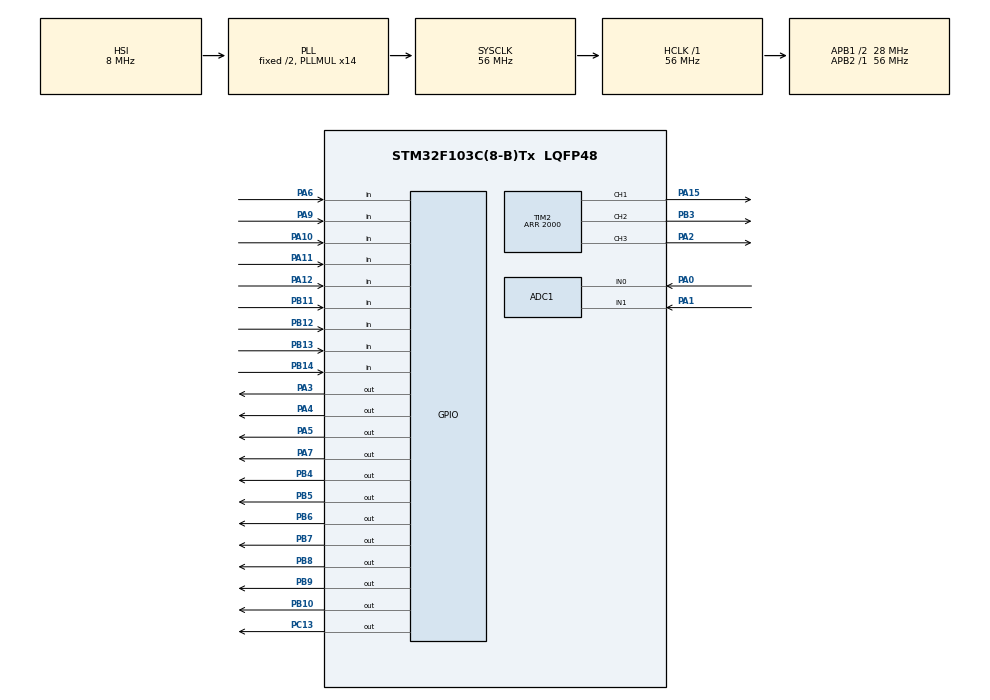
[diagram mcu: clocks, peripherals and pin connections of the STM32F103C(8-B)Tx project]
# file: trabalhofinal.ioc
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ADC1.Channel-0\#ChannelRegularConversion=ADC_CHANNEL_0
ADC1.Channel-1\#ChannelRegularConversion=ADC_CHANNEL_0
ADC1.Channel-10\#ChannelRegularConversion=ADC_CHANNEL_1
ADC1.Channel-11\#ChannelRegularConversion=ADC_CHANNEL_1
ADC1.Channel-12\#ChannelRegularConversion=ADC_CHANNEL_1
ADC1.Channel-13\#ChannelRegularConversion=ADC_CHANNEL_1
ADC1.Channel-14\#ChannelRegularConversion=ADC_CHANNEL_1
ADC1.Channel-15\#ChannelRegularConversion=ADC_CHANNEL_1
ADC1.Channel-2\#ChannelRegularConversion=ADC_CHANNEL_0
ADC1.Channel-3\#ChannelRegularConversion=ADC_CHANNEL_0
ADC1.Channel-4\#ChannelRegularConversion=ADC_CHANNEL_0
ADC1.Channel-5\#ChannelRegularConversion=ADC_CHANNEL_0
ADC1.Channel-6\#ChannelRegularConversion=ADC_CHANNEL_0
ADC1.Channel-7\#ChannelRegularConversion=ADC_CHANNEL_0
ADC1.Channel-8\#ChannelRegularConversion=ADC_CHANNEL_1
ADC1.Channel-9\#ChannelRegularConversion=ADC_CHANNEL_1
ADC1.NbrOfConversion=16
ADC1.NbrOfConversionFlag=1
ADC1.Rank-0\#ChannelRegularConversion=1
ADC1.Rank-1\#ChannelRegularConversion=2
ADC1.Rank-10\#ChannelRegularConversion=11
ADC1.Rank-11\#ChannelRegularConversion=12
ADC1.Rank-12\#ChannelRegularConversion=13
ADC1.Rank-13\#ChannelRegularConversion=14
ADC1.Rank-14\#ChannelRegularConversion=15
ADC1.Rank-15\#ChannelRegularConversion=16
ADC1.Rank-2\#ChannelRegularConversion=3
ADC1.Rank-3\#ChannelRegularConversion=4
ADC1.Rank-4\#ChannelRegularConversion=5
ADC1.Rank-5\#ChannelRegularConversion=6
ADC1.Rank-6\#ChannelRegularConversion=7
ADC1.Rank-7\#ChannelRegularConversion=8
ADC1.Rank-8\#ChannelRegularConversion=9
ADC1.Rank-9\#ChannelRegularConversion=10
ADC1.SamplingTime-0\#ChannelRegularConversion=ADC_SAMPLETIME_1CYCLE_5
ADC1.SamplingTime-1\#ChannelRegularConversion=ADC_SAMPLETIME_1CYCLE_5
ADC1.SamplingTime-10\#ChannelRegularConversion=ADC_SAMPLETIME_1CYCLE_5
ADC1.SamplingTime-11\#ChannelRegularConversion=ADC_SAMPLETIME_1CYCLE_5
ADC1.SamplingTime-12\#ChannelRegularConversion=ADC_SAMPLETIME_1CYCLE_5
ADC1.SamplingTime-13\#ChannelRegularConversion=ADC_SAMPLETIME_1CYCLE_5
ADC1.SamplingTime-14\#ChannelRegularConversion=ADC_SAMPLETIME_1CYCLE_5
ADC1.SamplingTime-15\#ChannelRegularConversion=ADC_SAMPLETIME_1CYCLE_5
ADC1.SamplingTime-2\#ChannelRegularConversion=ADC_SAMPLETIME_1CYCLE_5
ADC1.SamplingTime-3\#ChannelRegularConversion=ADC_SAMPLETIME_1CYCLE_5
ADC1.SamplingTime-4\#ChannelRegularConversion=ADC_SAMPLETIME_1CYCLE_5
ADC1.SamplingTime-5\#ChannelRegularConversion=ADC_SAMPLETIME_1CYCLE_5
ADC1.SamplingTime-6\#ChannelRegularConversion=ADC_SAMPLETIME_1CYCLE_5
ADC1.SamplingTime-7\#ChannelRegularConversion=ADC_SAMPLETIME_1CYCLE_5
ADC1.SamplingTime-8\#ChannelRegularConversion=ADC_SAMPLETIME_1CYCLE_5
ADC1.SamplingTime-9\#ChannelRegularConversion=ADC_SAMPLETIME_1CYCLE_5
ADC1.master=1
Dma.ADC1.0.Direction=DMA_PERIPH_TO_MEMORY
Dma.ADC1.0.Instance=DMA1_Channel1
Dma.ADC1.0.MemDataAlignment=DMA_MDATAALIGN_WORD
Dma.ADC1.0.MemInc=DMA_MINC_ENABLE
Dma.ADC1.0.Mode=DMA_CIRCULAR
Dma.ADC1.0.PeriphDataAlignment=DMA_PDATAALIGN_WORD
Dma.ADC1.0.PeriphInc=DMA_PINC_DISABLE
Dma.ADC1.0.Priority=DMA_PRIORITY_LOW
Dma.Request0=ADC1
Mcu.Family=STM32F1
Mcu.Name=STM32F103C(8-B)Tx
Mcu.Package=LQFP48
NVIC.DMA1_Channel1_IRQn=true\:0\:0\:false\:false\:true\:false\:true
NVIC.PriorityGroup=NVIC_PRIORITYGROUP_4
NVIC.TIM3_IRQn=true\:0\:0\:false\:false\:true\:true\:true
NVIC.TIM4_IRQn=true\:0\:0\:false\:false\:true\:true\:true
PA0-WKUP.Signal=ADCx_IN0
PA1.Signal=ADCx_IN1
PA10.Signal=GPIO_Input
PA11.Signal=GPIO_Input
PA12.Signal=GPIO_Input
PA13.Mode=Serial_Wire
PA13.Signal=SYS_JTMS-SWDIO
PA14.Mode=Serial_Wire
PA14.Signal=SYS_JTCK-SWCLK
PA15.Signal=S_TIM2_CH1_ETR
PA2.Signal=S_TIM2_CH3
PA3.Signal=GPIO_Output
PA4.Signal=GPIO_Output
PA5.Signal=GPIO_Output
PA6.Signal=GPIO_Input
PA7.Signal=GPIO_Output
PA9.Signal=GPIO_Input
PB10.Signal=GPIO_Output
PB11.Signal=GPIO_Input
PB12.Signal=GPIO_Input
PB13.Signal=GPIO_Input
PB14.Signal=GPIO_Input
PB3.Signal=S_TIM2_CH2
PB4.Signal=GPIO_Output
PB5.Signal=GPIO_Output
PB6.Signal=GPIO_Output
PB7.Signal=GPIO_Output
PB8.Signal=GPIO_Output
PB9.Signal=GPIO_Output
PC13-TAMPER-RTC.Signal=GPIO_Output
PD0-OSC_IN.Mode=HSE-External-Oscillator
PD0-OSC_IN.Signal=RCC_OSC_IN
PD1-OSC_OUT.Mode=HSE-External-Oscillator
PD1-OSC_OUT.Signal=RCC_OSC_OUT
ProjectManager.HeapSize=0x200
ProjectManager.StackSize=0x400
ProjectManager.TargetToolchain=STM32CubeIDE
RCC.ADCPresc=RCC_ADCPCLK2_DIV4
RCC.AHBFreq_Value=56000000
RCC.APB1CLKDivider=RCC_HCLK_DIV2
RCC.APB1Freq_Value=28000000
RCC.APB1TimFreq_Value=56000000
RCC.APB2Freq_Value=56000000
RCC.APB2TimFreq_Value=56000000
RCC.HCLKFreq_Value=56000000
RCC.PLLMUL=RCC_PLL_MUL14
RCC.SYSCLKFreq_VALUE=56000000
RCC.SYSCLKSource=RCC_SYSCLKSOURCE_PLLCLK
RCC.USBFreq_Value=56000000
SH.ADCx_IN0.0=ADC1_IN0,IN0
SH.ADCx_IN1.0=ADC1_IN1,IN1
SH.S_TIM2_CH1_ETR.0=TIM2_CH1,PWM Generation1 CH1
SH.S_TIM2_CH2.0=TIM2_CH2,PWM Generation2 CH2
SH.S_TIM2_CH3.0=TIM2_CH3,PWM Generation3 CH3
TIM2.Channel-PWM\ Generation1\ CH1=TIM_CHANNEL_1
TIM2.Channel-PWM\ Generation2\ CH2=TIM_CHANNEL_2
TIM2.Channel-PWM\ Generation3\ CH3=TIM_CHANNEL_3
TIM2.OC1Preload_PWM=ENABLE
TIM2.Period=2000
TIM3.Period=10000
TIM3.Prescaler=5600-1
TIM4.Period=3000
TIM4.Prescaler=5600
VP_TIM3_VS_ClockSourceINT.Mode=Internal
VP_TIM4_VS_ClockSourceINT.Mode=Internal
board=custom

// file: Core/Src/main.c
/* USER CODE BEGIN Header */
/**
  ******************************************************************************
  * @file           : main.c
  * @brief          : Main program body
  ******************************************************************************
  * @attention
  *
  * <h2><center>&copy; Copyright (c) 2020 STMicroelectronics.
  * All rights reserved.</center></h2>
  *
  * This software component is licensed by ST under BSD 3-Clause license,
  * the "License"; You may not use this file except in compliance with the
  * License. You may obtain a copy of the License at:
  *                        opensource.org/licenses/BSD-3-Clause
  *
  ******************************************************************************
  */
/* USER CODE END Header */
#include <aguaSemGas.h>
#include "main.h"

/* USER CODE BEGIN Includes */
#include "funcoes.h"
#include "bebidasGaseificadas.h"
#include <stdio.h>
#include <time.h>
//#include "telas.h"
/* USER CODE END Includes */

ADC_HandleTypeDef hadc1;
DMA_HandleTypeDef hdma_adc1;

TIM_HandleTypeDef htim2;
TIM_HandleTypeDef htim3;
TIM_HandleTypeDef htim4;

/* USER CODE BEGIN PV */
/* Private variables ---------------------------------------------------------*/
TIM_HandleTypeDef htim2;

/* USER CODE END PV */

void SystemClock_Config(void);
static void MX_GPIO_Init(void);
static void MX_DMA_Init(void);
static void MX_ADC1_Init(void);
static void MX_TIM2_Init(void);
static void MX_TIM3_Init(void);
static void MX_TIM4_Init(void);

int main(void)
{
  /* USER CODE BEGIN 1 */
	char aux[2];
  /* USER CODE END 1 */

  /* MCU Configuration--------------------------------------------------------*/

  /* Reset of all peripherals, Initializes the Flash interface and the Systick. */
  HAL_Init();

  /* Configure the system clock */
  SystemClock_Config();

  /* Initialize all configured peripherals */
  MX_GPIO_Init();
  MX_DMA_Init();
  MX_ADC1_Init();
  MX_TIM2_Init();
  MX_TIM3_Init();
  MX_TIM4_Init();
  HAL_TIM_Base_Start_IT(&htim3);
  HAL_TIM_Base_Start_IT(&htim4);
  horas=minutos=segundos=0;
	strcpy(aux, __TIME__);
	horas= atoi(aux);
	strcpy(aux, __TIME__ +3);
	minutos = atoi(aux);
	strcpy(aux, __TIME__+6);
	segundos = atoi(aux);
  iniciar();// Inicializa as variaveis das capsulas
  /* USER CODE BEGIN 2 */
  HAL_TIM_PWM_Start(&htim2, TIM_CHANNEL_1);
  HAL_TIM_PWM_Start(&htim2, TIM_CHANNEL_2);
  HAL_TIM_PWM_Start(&htim2, TIM_CHANNEL_3);
  calibrar();
  inicializa(); // Inicializa o display
  limpar(); // limpa o display
  /* USER CODE END 2 */

  /* Infinite loop */
  while (1)
  {

    /* USER CODE BEGIN 3 */
	 relogio(); // chama o relogio

  }
  /* USER CODE END 3 */
}

void SystemClock_Config(void)
{
  RCC_OscInitTypeDef RCC_OscInitStruct = {0};
  RCC_ClkInitTypeDef RCC_ClkInitStruct = {0};
  RCC_PeriphCLKInitTypeDef PeriphClkInit = {0};

  /** Initializes the RCC Oscillators according to the specified parameters
  * in the RCC_OscInitTypeDef structure.
  */
  RCC_OscInitStruct.OscillatorType = RCC_OSCILLATORTYPE_HSI;
  RCC_OscInitStruct.HSIState = RCC_HSI_ON;
  RCC_OscInitStruct.HSICalibrationValue = RCC_HSICALIBRATION_DEFAULT;
  RCC_OscInitStruct.PLL.PLLState = RCC_PLL_ON;
  RCC_OscInitStruct.PLL.PLLSource = RCC_PLLSOURCE_HSI_DIV2;
  RCC_OscInitStruct.PLL.PLLMUL = RCC_PLL_MUL14;
  if (HAL_RCC_OscConfig(&RCC_OscInitStruct) != HAL_OK)
  {
    Error_Handler();
  }
  /** Initializes the CPU, AHB and APB buses clocks
  */
  RCC_ClkInitStruct.ClockType = RCC_CLOCKTYPE_HCLK|RCC_CLOCKTYPE_SYSCLK
                              |RCC_CLOCKTYPE_PCLK1|RCC_CLOCKTYPE_PCLK2;
  RCC_ClkInitStruct.SYSCLKSource = RCC_SYSCLKSOURCE_PLLCLK;
  RCC_ClkInitStruct.AHBCLKDivider = RCC_SYSCLK_DIV1;
  RCC_ClkInitStruct.APB1CLKDivider = RCC_HCLK_DIV2;
  RCC_ClkInitStruct.APB2CLKDivider = RCC_HCLK_DIV1;

  if (HAL_RCC_ClockConfig(&RCC_ClkInitStruct, FLASH_LATENCY_2) != HAL_OK)
  {
    Error_Handler();
  }
  PeriphClkInit.PeriphClockSelection = RCC_PERIPHCLK_ADC;
  PeriphClkInit.AdcClockSelection = RCC_ADCPCLK2_DIV4;
  if (HAL_RCCEx_PeriphCLKConfig(&PeriphClkInit) != HAL_OK)
  {
    Error_Handler();
  }
}

static void MX_ADC1_Init(void)
{

  ADC_ChannelConfTypeDef sConfig = {0};

  /** Common config
  */
  hadc1.Instance = ADC1;
  hadc1.Init.ScanConvMode = ADC_SCAN_ENABLE;
  hadc1.Init.ContinuousConvMode = DISABLE;
  hadc1.Init.DiscontinuousConvMode = DISABLE;
  hadc1.Init.ExternalTrigConv = ADC_SOFTWARE_START;
  hadc1.Init.DataAlign = ADC_DATAALIGN_RIGHT;
  hadc1.Init.NbrOfConversion = 16;
  if (HAL_ADC_Init(&hadc1) != HAL_OK)
  {
    Error_Handler();
  }
  /** Configure Regular Channel
  */
  sConfig.Channel = ADC_CHANNEL_0;
  sConfig.Rank = ADC_REGULAR_RANK_1;
  sConfig.SamplingTime = ADC_SAMPLETIME_1CYCLE_5;
  if (HAL_ADC_ConfigChannel(&hadc1, &sConfig) != HAL_OK)
  {
    Error_Handler();
  }
  /** Configure Regular Channel
  */
  sConfig.Rank = ADC_REGULAR_RANK_2;
  if (HAL_ADC_ConfigChannel(&hadc1, &sConfig) != HAL_OK)
  {
    Error_Handler();
  }
  /** Configure Regular Channel
  */
  sConfig.Rank = ADC_REGULAR_RANK_3;
  if (HAL_ADC_ConfigChannel(&hadc1, &sConfig) != HAL_OK)
  {
    Error_Handler();
  }
  /** Configure Regular Channel
  */
  sConfig.Rank = ADC_REGULAR_RANK_4;
  if (HAL_ADC_ConfigChannel(&hadc1, &sConfig) != HAL_OK)
  {
    Error_Handler();
  }
  /** Configure Regular Channel
  */
  sConfig.Rank = ADC_REGULAR_RANK_5;
  if (HAL_ADC_ConfigChannel(&hadc1, &sConfig) != HAL_OK)
  {
    Error_Handler();
  }
  /** Configure Regular Channel
  */
  sConfig.Rank = ADC_REGULAR_RANK_6;
  if (HAL_ADC_ConfigChannel(&hadc1, &sConfig) != HAL_OK)
  {
    Error_Handler();
  }
  /** Configure Regular Channel
  */
  sConfig.Rank = ADC_REGULAR_RANK_7;
  if (HAL_ADC_ConfigChannel(&hadc1, &sConfig) != HAL_OK)
  {
    Error_Handler();
  }
  /** Configure Regular Channel
  */
  sConfig.Rank = ADC_REGULAR_RANK_8;
  if (HAL_ADC_ConfigChannel(&hadc1, &sConfig) != HAL_OK)
  {
    Error_Handler();
  }
  /** Configure Regular Channel
  */
  sConfig.Channel = ADC_CHANNEL_1;
  sConfig.Rank = ADC_REGULAR_RANK_9;
  if (HAL_ADC_ConfigChannel(&hadc1, &sConfig) != HAL_OK)
  {
    Error_Handler();
  }
  /** Configure Regular Channel
  */
  sConfig.Rank = ADC_REGULAR_RANK_10;
  if (HAL_ADC_ConfigChannel(&hadc1, &sConfig) != HAL_OK)
  {
    Error_Handler();
  }
  /** Configure Regular Channel
  */
  sConfig.Rank = ADC_REGULAR_RANK_11;
  if (HAL_ADC_ConfigChannel(&hadc1, &sConfig) != HAL_OK)
  {
    Error_Handler();
  }
  /** Configure Regular Channel
  */
  sConfig.Rank = ADC_REGULAR_RANK_12;
  if (HAL_ADC_ConfigChannel(&hadc1, &sConfig) != HAL_OK)
  {
    Error_Handler();
  }
  /** Configure Regular Channel
  */
  sConfig.Rank = ADC_REGULAR_RANK_13;
  if (HAL_ADC_ConfigChannel(&hadc1, &sConfig) != HAL_OK)
  {
    Error_Handler();
  }
  /** Configure Regular Channel
  */
  sConfig.Rank = ADC_REGULAR_RANK_14;
  if (HAL_ADC_ConfigChannel(&hadc1, &sConfig) != HAL_OK)
  {
    Error_Handler();
  }
  /** Configure Regular Channel
  */
  sConfig.Rank = ADC_REGULAR_RANK_15;
  if (HAL_ADC_ConfigChannel(&hadc1, &sConfig) != HAL_OK)
  {
    Error_Handler();
  }
  /** Configure Regular Channel
  */
  sConfig.Rank = ADC_REGULAR_RANK_16;
  if (HAL_ADC_ConfigChannel(&hadc1, &sConfig) != HAL_OK)
  {
    Error_Handler();
  }

}

static void MX_TIM2_Init(void)
{

  TIM_MasterConfigTypeDef sMasterConfig = {0};
  TIM_OC_InitTypeDef sConfigOC = {0};

  htim2.Instance = TIM2;
  htim2.Init.Prescaler = 0;
  htim2.Init.CounterMode = TIM_COUNTERMODE_UP;
  htim2.Init.Period = 2000;
  htim2.Init.ClockDivision = TIM_CLOCKDIVISION_DIV1;
  htim2.Init.AutoReloadPreload = TIM_AUTORELOAD_PRELOAD_DISABLE;
  if (HAL_TIM_PWM_Init(&htim2) != HAL_OK)
  {
    Error_Handler();
  }
  sMasterConfig.MasterOutputTrigger = TIM_TRGO_RESET;
  sMasterConfig.MasterSlaveMode = TIM_MASTERSLAVEMODE_DISABLE;
  if (HAL_TIMEx_MasterConfigSynchronization(&htim2, &sMasterConfig) != HAL_OK)
  {
    Error_Handler();
  }
  sConfigOC.OCMode = TIM_OCMODE_PWM1;
  sConfigOC.Pulse = 0;
  sConfigOC.OCPolarity = TIM_OCPOLARITY_HIGH;
  sConfigOC.OCFastMode = TIM_OCFAST_DISABLE;
  if (HAL_TIM_PWM_ConfigChannel(&htim2, &sConfigOC, TIM_CHANNEL_1) != HAL_OK)
  {
    Error_Handler();
  }
  if (HAL_TIM_PWM_ConfigChannel(&htim2, &sConfigOC, TIM_CHANNEL_2) != HAL_OK)
  {
    Error_Handler();
  }
  if (HAL_TIM_PWM_ConfigChannel(&htim2, &sConfigOC, TIM_CHANNEL_3) != HAL_OK)
  {
    Error_Handler();
  }
  HAL_TIM_MspPostInit(&htim2);

}

static void MX_TIM3_Init(void)
{

  TIM_ClockConfigTypeDef sClockSourceConfig = {0};
  TIM_MasterConfigTypeDef sMasterConfig = {0};

  htim3.Instance = TIM3;
  htim3.Init.Prescaler = 5600-1;
  htim3.Init.CounterMode = TIM_COUNTERMODE_UP;
  htim3.Init.Period = 10000;
  htim3.Init.ClockDivision = TIM_CLOCKDIVISION_DIV1;
  htim3.Init.AutoReloadPreload = TIM_AUTORELOAD_PRELOAD_DISABLE;
  if (HAL_TIM_Base_Init(&htim3) != HAL_OK)
  {
    Error_Handler();
  }
  sClockSourceConfig.ClockSource = TIM_CLOCKSOURCE_INTERNAL;
  if (HAL_TIM_ConfigClockSource(&htim3, &sClockSourceConfig) != HAL_OK)
  {
    Error_Handler();
  }
  sMasterConfig.MasterOutputTrigger = TIM_TRGO_RESET;
  sMasterConfig.MasterSlaveMode = TIM_MASTERSLAVEMODE_DISABLE;
  if (HAL_TIMEx_MasterConfigSynchronization(&htim3, &sMasterConfig) != HAL_OK)
  {
    Error_Handler();
  }

}

static void MX_TIM4_Init(void)
{

  TIM_ClockConfigTypeDef sClockSourceConfig = {0};
  TIM_MasterConfigTypeDef sMasterConfig = {0};

  htim4.Instance = TIM4;
  htim4.Init.Prescaler = 5600;
  htim4.Init.CounterMode = TIM_COUNTERMODE_UP;
  htim4.Init.Period = 3000;
  htim4.Init.ClockDivision = TIM_CLOCKDIVISION_DIV1;
  htim4.Init.AutoReloadPreload = TIM_AUTORELOAD_PRELOAD_DISABLE;
  if (HAL_TIM_Base_Init(&htim4) != HAL_OK)
  {
    Error_Handler();
  }
  sClockSourceConfig.ClockSource = TIM_CLOCKSOURCE_INTERNAL;
  if (HAL_TIM_ConfigClockSource(&htim4, &sClockSourceConfig) != HAL_OK)
  {
    Error_Handler();
  }
  sMasterConfig.MasterOutputTrigger = TIM_TRGO_RESET;
  sMasterConfig.MasterSlaveMode = TIM_MASTERSLAVEMODE_DISABLE;
  if (HAL_TIMEx_MasterConfigSynchronization(&htim4, &sMasterConfig) != HAL_OK)
  {
    Error_Handler();
  }

}

static void MX_DMA_Init(void)
{

  /* DMA controller clock enable */
  __HAL_RCC_DMA1_CLK_ENABLE();

  /* DMA interrupt init */
  /* DMA1_Channel1_IRQn interrupt configuration */
  HAL_NVIC_SetPriority(DMA1_Channel1_IRQn, 0, 0);
  HAL_NVIC_EnableIRQ(DMA1_Channel1_IRQn);

}

static void MX_GPIO_Init(void)
{
  GPIO_InitTypeDef GPIO_InitStruct = {0};

  /* GPIO Ports Clock Enable */
  __HAL_RCC_GPIOC_CLK_ENABLE();
  __HAL_RCC_GPIOD_CLK_ENABLE();
  __HAL_RCC_GPIOA_CLK_ENABLE();
  __HAL_RCC_GPIOB_CLK_ENABLE();

  /*Configure GPIO pin Output Level */
  HAL_GPIO_WritePin(GPIOC, GPIO_PIN_13, GPIO_PIN_RESET);

  /*Configure GPIO pin Output Level */
  HAL_GPIO_WritePin(GPIOA, GPIO_PIN_3|GPIO_PIN_4|GPIO_PIN_5|GPIO_PIN_7, GPIO_PIN_RESET);

  /*Configure GPIO pin Output Level */
  HAL_GPIO_WritePin(GPIOB, GPIO_PIN_10|GPIO_PIN_4|GPIO_PIN_5|GPIO_PIN_6
                          |GPIO_PIN_7|GPIO_PIN_8|GPIO_PIN_9, GPIO_PIN_RESET);

  /*Configure GPIO pin : PC13 */
  GPIO_InitStruct.Pin = GPIO_PIN_13;
  GPIO_InitStruct.Mode = GPIO_MODE_OUTPUT_PP;
  GPIO_InitStruct.Pull = GPIO_NOPULL;
  GPIO_InitStruct.Speed = GPIO_SPEED_FREQ_LOW;
  HAL_GPIO_Init(GPIOC, &GPIO_InitStruct);

  /*Configure GPIO pins : PA3 PA4 PA5 PA7 */
  GPIO_InitStruct.Pin = GPIO_PIN_3|GPIO_PIN_4|GPIO_PIN_5|GPIO_PIN_7;
  GPIO_InitStruct.Mode = GPIO_MODE_OUTPUT_PP;
  GPIO_InitStruct.Pull = GPIO_NOPULL;
  GPIO_InitStruct.Speed = GPIO_SPEED_FREQ_LOW;
  HAL_GPIO_Init(GPIOA, &GPIO_InitStruct);

  /*Configure GPIO pins : PA6 PA9 PA10 PA11
                           PA12 */
  GPIO_InitStruct.Pin = GPIO_PIN_6|GPIO_PIN_9|GPIO_PIN_10|GPIO_PIN_11
                          |GPIO_PIN_12;
  GPIO_InitStruct.Mode = GPIO_MODE_INPUT;
  GPIO_InitStruct.Pull = GPIO_NOPULL;
  HAL_GPIO_Init(GPIOA, &GPIO_InitStruct);

  /*Configure GPIO pins : PB10 PB4 PB5 PB6
                           PB7 PB8 PB9 */
  GPIO_InitStruct.Pin = GPIO_PIN_10|GPIO_PIN_4|GPIO_PIN_5|GPIO_PIN_6
                          |GPIO_PIN_7|GPIO_PIN_8|GPIO_PIN_9;
  GPIO_InitStruct.Mode = GPIO_MODE_OUTPUT_PP;
  GPIO_InitStruct.Pull = GPIO_NOPULL;
  GPIO_InitStruct.Speed = GPIO_SPEED_FREQ_LOW;
  HAL_GPIO_Init(GPIOB, &GPIO_InitStruct);

  /*Configure GPIO pins : PB11 PB12 PB13 PB14 */
  GPIO_InitStruct.Pin = GPIO_PIN_11|GPIO_PIN_12|GPIO_PIN_13|GPIO_PIN_14;
  GPIO_InitStruct.Mode = GPIO_MODE_INPUT;
  GPIO_InitStruct.Pull = GPIO_NOPULL;
  HAL_GPIO_Init(GPIOB, &GPIO_InitStruct);

}

/* USER CODE BEGIN 4 */
void HAL_TIM_PeriodElapsedCallback(TIM_HandleTypeDef *htim){

	/**Testa qual timer gerou a interupção se for o timer 3, adiciona 1s ao timer do relogio
	 * Se timer 4 pisca o led da placa, C13**/
	if(htim == &htim3){
		segundos++;
		if(segundos == 60){
			minutos++;
			segundos=0;
		}
		if(minutos==60){
			horas++;
			minutos=0;
		}
		if(horas==24){
			horas=00;
		}
	}
	if(htim == &htim4){
		HAL_GPIO_TogglePin(GPIOC, GPIO_PIN_13);
	}
}

//Libera a flag para leitura do DMA
void HAL_ADC_ConvCpltCallback(ADC_HandleTypeDef* hadc){
	flag=1;
}
/* USER CODE END 4 */

void Error_Handler(void)
{
}

/************************ (C) COPYRIGHT STMicroelectronics *****END OF FILE****/
